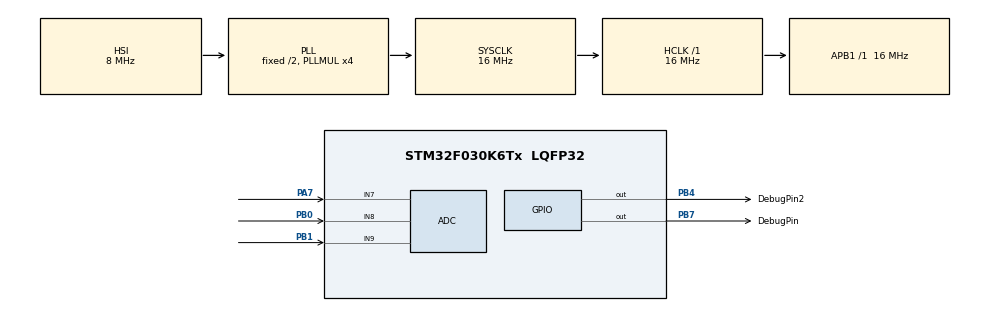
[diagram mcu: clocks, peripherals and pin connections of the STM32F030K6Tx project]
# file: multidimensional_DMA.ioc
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ADC.ClockPrescaler=ADC_CLOCK_SYNC_PCLK_DIV2
ADC.ContinuousConvMode=ENABLE
ADC.DMAContinuousRequests=DISABLE
ADC.EOCSelection=ADC_EOC_SEQ_CONV
ADC.SamplingTime=ADC_SAMPLETIME_71CYCLES_5
Dma.ADC.0.Direction=DMA_PERIPH_TO_MEMORY
Dma.ADC.0.Instance=DMA1_Channel1
Dma.ADC.0.MemDataAlignment=DMA_MDATAALIGN_HALFWORD
Dma.ADC.0.MemInc=DMA_MINC_ENABLE
Dma.ADC.0.Mode=DMA_CIRCULAR
Dma.ADC.0.PeriphDataAlignment=DMA_PDATAALIGN_HALFWORD
Dma.ADC.0.PeriphInc=DMA_PINC_DISABLE
Dma.ADC.0.Priority=DMA_PRIORITY_LOW
Dma.Request0=ADC
Mcu.Family=STM32F0
Mcu.Name=STM32F030K6Tx
Mcu.Package=LQFP32
NVIC.DMA1_Channel1_IRQn=true\:0\:0\:false\:false\:true\:false\:true
NVIC.TIM1_BRK_UP_TRG_COM_IRQn=true\:0\:0\:false\:false\:true\:true\:true
PA13.Mode=Serial_Wire
PA13.Signal=SYS_SWDIO
PA14.Mode=Serial_Wire
PA14.Signal=SYS_SWCLK
PA7.Mode=IN7
PA7.Signal=ADC_IN7
PB0.Mode=IN8
PB0.Signal=ADC_IN8
PB1.Mode=IN9
PB1.Signal=ADC_IN9
PB4.GPIO_Label=DebugPin2
PB4.Signal=GPIO_Output
PB7.GPIO_Label=DebugPin
PB7.Signal=GPIO_Output
ProjectManager.HeapSize=0x200
ProjectManager.StackSize=0x400
ProjectManager.TargetToolchain=STM32CubeIDE
RCC.AHBFreq_Value=16000000
RCC.APB1Freq_Value=16000000
RCC.APB1TimFreq_Value=16000000
RCC.HCLKFreq_Value=16000000
RCC.PLLMUL=RCC_PLL_MUL4
RCC.SYSCLKFreq_VALUE=16000000
RCC.SYSCLKSource=RCC_SYSCLKSOURCE_PLLCLK
TIM1.Period=16000-1
TIM1.Prescaler=10-1
VP_TIM1_VS_ClockSourceINT.Mode=Internal
board=custom

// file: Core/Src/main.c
/* USER CODE BEGIN Header */
/**
  ******************************************************************************
  * @file           : main.c
  * @brief          : Main program body
  ******************************************************************************
  * @attention
  *
  * Copyright (c) 2022 STMicroelectronics.
  * All rights reserved.
  *
  * This software is licensed under terms that can be found in the LICENSE file
  * in the root directory of this software component.
  * If no LICENSE file comes with this software, it is provided AS-IS.
  *
  ******************************************************************************
  */
/* USER CODE END Header */
#include "main.h"

/* USER CODE BEGIN Includes */

#include <string.h>

/* USER CODE END Includes */

/* USER CODE BEGIN PD */

#define NUM_CHANNELS 3
#define DMA_ARRAY_LEN 100

/* USER CODE END PD */

ADC_HandleTypeDef hadc;
DMA_HandleTypeDef hdma_adc;

TIM_HandleTypeDef htim1;

/* USER CODE BEGIN PV */
#ifdef DEBUG
uint16_t		AADebugShad[NUM_CHANNELS];
#endif
uint16_t		DmaBuffer[NUM_CHANNELS * DMA_ARRAY_LEN];
unsigned char	ConversionComplete = 0;

/* USER CODE END PV */

void SystemClock_Config(void);
static void MX_GPIO_Init(void);
static void MX_DMA_Init(void);
static void MX_ADC_Init(void);
static void MX_TIM1_Init(void);

/* USER CODE BEGIN 0 */

unsigned char AdcRunning = 0;
void HAL_ADC_ConvCpltCallback(ADC_HandleTypeDef *hadc)
{
	/* Prevent unused argument(s) compilation warning */
	UNUSED(hadc);
	AdcRunning = 0;
#ifdef DEBUG
	AADebugShad[0] = DmaBuffer[30];
	AADebugShad[1] = DmaBuffer[31];
	AADebugShad[2] = DmaBuffer[32];
#endif

//	HAL_ADC_Stop_DMA(hadc); //! debug
	HAL_GPIO_WritePin(DebugPin_GPIO_Port, DebugPin_Pin, GPIO_PIN_RESET);
}

void HAL_ADC_ConvHalfCpltCallback(ADC_HandleTypeDef* hadc)
{
  /* Prevent unused argument(s) compilation warning */
  UNUSED(hadc);

//  HAL_ADC_Stop_DMA(hadc);

  //HAL_GPIO_WritePin(DebugPin_GPIO_Port, DebugPin_Pin, GPIO_PIN_SET);
//  HAL_ADC_Start_DMA(hadc, (uint32_t *)DmaBuffer, NUM_CHANNELS * DMA_ARRAY_LEN);
}

void HAL_TIM_PeriodElapsedCallback(TIM_HandleTypeDef *htim)
{
  /* Prevent unused argument(s) compilation warning */
  UNUSED(htim);
  HAL_GPIO_TogglePin(DebugPin2_GPIO_Port, DebugPin2_Pin);
  if (! AdcRunning)
  {
	  HAL_ADC_Start_DMA(&hadc, (uint32_t *)DmaBuffer, NUM_CHANNELS * DMA_ARRAY_LEN);
	  HAL_GPIO_WritePin(DebugPin_GPIO_Port, DebugPin_Pin, GPIO_PIN_SET);

	  AdcRunning = 1;
  }

  /* NOTE : This function should not be modified, when the callback is needed,
            the HAL_TIM_PeriodElapsedCallback could be implemented in the user file
   */
}

/* USER CODE END 0 */

int main(void)
{

  /* MCU Configuration--------------------------------------------------------*/

  /* Reset of all peripherals, Initializes the Flash interface and the Systick. */
  HAL_Init();

  /* Configure the system clock */
  SystemClock_Config();

  /* Initialize all configured peripherals */
  MX_GPIO_Init();
  MX_DMA_Init();
  MX_ADC_Init();
  MX_TIM1_Init();

  /* Infinite loop */
  /* USER CODE BEGIN WHILE */
  memset ((void *)DmaBuffer, 0, NUM_CHANNELS * DMA_ARRAY_LEN * sizeof (DmaBuffer[0]));

  //HAL_ADC_Start_DMA(&hadc, (uint32_t *)DmaBuffer, NUM_CHANNELS * DMA_ARRAY_LEN);
  HAL_TIM_Base_Start_IT(&htim1);
  while (1)
  {
    /* USER CODE END WHILE */

  }
}

void SystemClock_Config(void)
{
  RCC_OscInitTypeDef RCC_OscInitStruct = {0};
  RCC_ClkInitTypeDef RCC_ClkInitStruct = {0};

  /** Initializes the RCC Oscillators according to the specified parameters
  * in the RCC_OscInitTypeDef structure.
  */
  RCC_OscInitStruct.OscillatorType = RCC_OSCILLATORTYPE_HSI;
  RCC_OscInitStruct.HSIState = RCC_HSI_ON;
  RCC_OscInitStruct.HSICalibrationValue = RCC_HSICALIBRATION_DEFAULT;
  RCC_OscInitStruct.PLL.PLLState = RCC_PLL_ON;
  RCC_OscInitStruct.PLL.PLLSource = RCC_PLLSOURCE_HSI;
  RCC_OscInitStruct.PLL.PLLMUL = RCC_PLL_MUL4;
  RCC_OscInitStruct.PLL.PREDIV = RCC_PREDIV_DIV1;
  if (HAL_RCC_OscConfig(&RCC_OscInitStruct) != HAL_OK)
  {
    Error_Handler();
  }
  /** Initializes the CPU, AHB and APB buses clocks
  */
  RCC_ClkInitStruct.ClockType = RCC_CLOCKTYPE_HCLK|RCC_CLOCKTYPE_SYSCLK
                              |RCC_CLOCKTYPE_PCLK1;
  RCC_ClkInitStruct.SYSCLKSource = RCC_SYSCLKSOURCE_PLLCLK;
  RCC_ClkInitStruct.AHBCLKDivider = RCC_SYSCLK_DIV1;
  RCC_ClkInitStruct.APB1CLKDivider = RCC_HCLK_DIV1;

  if (HAL_RCC_ClockConfig(&RCC_ClkInitStruct, FLASH_LATENCY_0) != HAL_OK)
  {
    Error_Handler();
  }
}

static void MX_ADC_Init(void)
{

  ADC_ChannelConfTypeDef sConfig = {0};

  /** Configure the global features of the ADC (Clock, Resolution, Data Alignment and number of conversion)
  */
  hadc.Instance = ADC1;
  hadc.Init.ClockPrescaler = ADC_CLOCK_SYNC_PCLK_DIV2;
  hadc.Init.Resolution = ADC_RESOLUTION_12B;
  hadc.Init.DataAlign = ADC_DATAALIGN_RIGHT;
  hadc.Init.ScanConvMode = ADC_SCAN_DIRECTION_FORWARD;
  hadc.Init.EOCSelection = ADC_EOC_SEQ_CONV;
  hadc.Init.LowPowerAutoWait = DISABLE;
  hadc.Init.LowPowerAutoPowerOff = DISABLE;
  hadc.Init.ContinuousConvMode = ENABLE;
  hadc.Init.DiscontinuousConvMode = DISABLE;
  hadc.Init.ExternalTrigConv = ADC_SOFTWARE_START;
  hadc.Init.ExternalTrigConvEdge = ADC_EXTERNALTRIGCONVEDGE_NONE;
  hadc.Init.DMAContinuousRequests = DISABLE;
  hadc.Init.Overrun = ADC_OVR_DATA_PRESERVED;
  if (HAL_ADC_Init(&hadc) != HAL_OK)
  {
    Error_Handler();
  }
  /** Configure for the selected ADC regular channel to be converted.
  */
  sConfig.Channel = ADC_CHANNEL_7;
  sConfig.Rank = ADC_RANK_CHANNEL_NUMBER;
  sConfig.SamplingTime = ADC_SAMPLETIME_71CYCLES_5;
  if (HAL_ADC_ConfigChannel(&hadc, &sConfig) != HAL_OK)
  {
    Error_Handler();
  }
  /** Configure for the selected ADC regular channel to be converted.
  */
  sConfig.Channel = ADC_CHANNEL_8;
  if (HAL_ADC_ConfigChannel(&hadc, &sConfig) != HAL_OK)
  {
    Error_Handler();
  }
  /** Configure for the selected ADC regular channel to be converted.
  */
  sConfig.Channel = ADC_CHANNEL_9;
  if (HAL_ADC_ConfigChannel(&hadc, &sConfig) != HAL_OK)
  {
    Error_Handler();
  }

}

static void MX_TIM1_Init(void)
{

  TIM_ClockConfigTypeDef sClockSourceConfig = {0};
  TIM_MasterConfigTypeDef sMasterConfig = {0};

  htim1.Instance = TIM1;
  htim1.Init.Prescaler = 10-1;
  htim1.Init.CounterMode = TIM_COUNTERMODE_UP;
  htim1.Init.Period = 16000-1;
  htim1.Init.ClockDivision = TIM_CLOCKDIVISION_DIV1;
  htim1.Init.RepetitionCounter = 0;
  htim1.Init.AutoReloadPreload = TIM_AUTORELOAD_PRELOAD_DISABLE;
  if (HAL_TIM_Base_Init(&htim1) != HAL_OK)
  {
    Error_Handler();
  }
  sClockSourceConfig.ClockSource = TIM_CLOCKSOURCE_INTERNAL;
  if (HAL_TIM_ConfigClockSource(&htim1, &sClockSourceConfig) != HAL_OK)
  {
    Error_Handler();
  }
  sMasterConfig.MasterOutputTrigger = TIM_TRGO_RESET;
  sMasterConfig.MasterSlaveMode = TIM_MASTERSLAVEMODE_DISABLE;
  if (HAL_TIMEx_MasterConfigSynchronization(&htim1, &sMasterConfig) != HAL_OK)
  {
    Error_Handler();
  }

}

static void MX_DMA_Init(void)
{

  /* DMA controller clock enable */
  __HAL_RCC_DMA1_CLK_ENABLE();

  /* DMA interrupt init */
  /* DMA1_Channel1_IRQn interrupt configuration */
  HAL_NVIC_SetPriority(DMA1_Channel1_IRQn, 0, 0);
  HAL_NVIC_EnableIRQ(DMA1_Channel1_IRQn);

}

static void MX_GPIO_Init(void)
{
  GPIO_InitTypeDef GPIO_InitStruct = {0};

  /* GPIO Ports Clock Enable */
  __HAL_RCC_GPIOA_CLK_ENABLE();
  __HAL_RCC_GPIOB_CLK_ENABLE();

  /*Configure GPIO pin Output Level */
  HAL_GPIO_WritePin(GPIOB, DebugPin2_Pin|DebugPin_Pin, GPIO_PIN_RESET);

  /*Configure GPIO pins : DebugPin2_Pin DebugPin_Pin */
  GPIO_InitStruct.Pin = DebugPin2_Pin|DebugPin_Pin;
  GPIO_InitStruct.Mode = GPIO_MODE_OUTPUT_PP;
  GPIO_InitStruct.Pull = GPIO_NOPULL;
  GPIO_InitStruct.Speed = GPIO_SPEED_FREQ_LOW;
  HAL_GPIO_Init(GPIOB, &GPIO_InitStruct);

}

void Error_Handler(void)
{
  __disable_irq();
  while (1)
  {
  }
}
